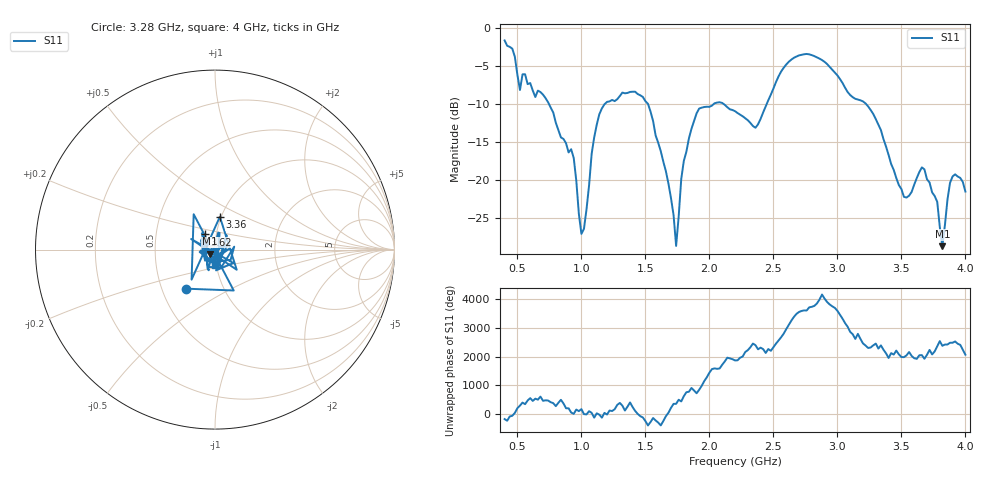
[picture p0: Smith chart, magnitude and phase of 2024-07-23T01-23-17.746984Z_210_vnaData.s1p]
!Created with skrf (http://scikit-rf.org).
# Hz S RI R 50.0
!freq ReS11 ImS11
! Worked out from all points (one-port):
!   181 points, 400 MHz to 4 GHz, reference 50 ohm
!   lowest |S11| = -28.8 dB at 3.82 GHz (marker M1), VSWR 1.08, Z = 47.2 - j2.17 ohm
!   |S11| at or under -10 dB: 745.6 MHz to 1.184 GHz (438.8 MHz wide, 45.5 % of centre); 1.52 GHz to 2.036 GHz (516.2 MHz wide, 29 % of centre); 3.222 GHz to end of sweep (the widest 3 of 4)
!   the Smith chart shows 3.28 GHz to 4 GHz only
!   S11 on the Smith chart (normalised r, x): 3.28 GHz: 0.66, -0.31; 3.36 GHz: 0.99, +0.37; 3.62 GHz: 0.88, +0.15; 4 GHz: 0.98, -0.17
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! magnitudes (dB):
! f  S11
! 400 MHz  -1.7
! 480 MHz  -3.8
! 520 MHz  -8.2
! 560 MHz  -6.1
! 860 MHz  -14.6
! 940 MHz  -17.1
! 1 GHz  -27.1
! 1.14 GHz  -11.4
! 1.3 GHz  -9.0
! 1.52 GHz  -10.0
! 1.68 GHz  -20.5
! 1.74 GHz  -28.7
! 1.76 GHz  -24.9
! 1.8 GHz  -17.5
! 1.9 GHz  -11.3
! 2.2 GHz  -11.0
! 2.36 GHz  -13.2
! 2.66 GHz  -3.9
! 3.1 GHz  -8.8
! 3.28 GHz  -11.3
! 3.36 GHz  -14.7
! 3.56 GHz  -22.1
! 3.62 GHz  -19.8
! 3.68 GHz  -18.6
! 3.78 GHz  -22.9
! 3.82 GHz  -28.8
! 3.9 GHz  -19.6
! 4 GHz  -21.6
